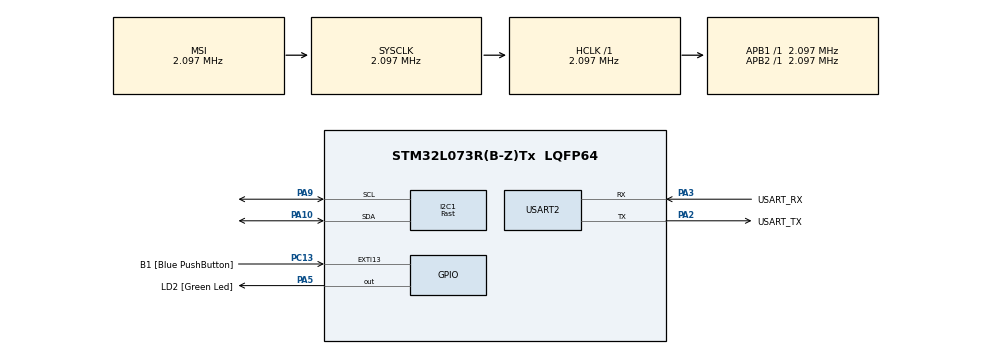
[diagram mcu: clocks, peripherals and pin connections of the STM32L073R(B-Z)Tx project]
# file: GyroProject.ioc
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I2C1.I2C_Speed_Mode=I2C_Fast
I2C1.Timing=0x00000000
Mcu.Family=STM32L0
Mcu.Name=STM32L073R(B-Z)Tx
Mcu.Package=LQFP64
NVIC.EXTI4_15_IRQn=true\:0\:0\:false\:false\:true\:true\:true\:true
NVIC.TIM7_IRQn=true\:0\:0\:false\:false\:true\:true\:true\:true
PA10.Mode=I2C
PA10.Signal=I2C1_SDA
PA13.GPIO_Label=TMS
PA13.Mode=Serial_Wire
PA13.Signal=SYS_SWDIO
PA14.GPIO_Label=TCK
PA14.Mode=Serial_Wire
PA14.Signal=SYS_SWCLK
PA2.GPIO_Label=USART_TX
PA2.Mode=Asynchronous
PA2.Signal=USART2_TX
PA3.GPIO_Label=USART_RX
PA3.Mode=Asynchronous
PA3.Signal=USART2_RX
PA5.GPIO_Label=LD2 [Green Led]
PA5.Signal=GPIO_Output
PA9.Mode=I2C
PA9.Signal=I2C1_SCL
PC13.GPIO_Label=B1 [Blue PushButton]
PC13.GPIO_ModeDefaultEXTI=GPIO_MODE_IT_RISING
PC13.GPIO_PuPd=GPIO_PULLUP
PC13.Signal=GPXTI13
PC14-OSC32_IN.Mode=LSE-External-Oscillator
PC14-OSC32_IN.Signal=RCC_OSC32_IN
PC15-OSC32_OUT.Mode=LSE-External-Oscillator
PC15-OSC32_OUT.Signal=RCC_OSC32_OUT
PH0-OSC_IN.GPIO_Label=MCO
PH0-OSC_IN.Mode=HSE-External-Clock-Source
PH0-OSC_IN.Signal=RCC_OSC_IN
ProjectManager.HeapSize=0x200
ProjectManager.StackSize=0x400
ProjectManager.TargetToolchain=STM32CubeIDE
RCC.AHBFreq_Value=2097000
RCC.APB1Freq_Value=2097000
RCC.APB1TimFreq_Value=2097000
RCC.APB2Freq_Value=2097000
RCC.APB2TimFreq_Value=2097000
RCC.HSE_VALUE=8000000
RCC.HSI16_VALUE=16000000
RCC.HSI48_VALUE=48000000
RCC.HSI_VALUE=16000000
RCC.MSI_VALUE=2097000
RCC.SYSCLKFreq_VALUE=2097000
RCC.VCOOutputFreq_Value=48000000
TIM7.Period=200-1
TIM7.Prescaler=2097-1
USART2.VirtualMode-Asynchronous=VM_ASYNC
VP_TIM7_VS_ClockSourceINT.Mode=Enable_Timer
board=NUCLEO-L073RZ

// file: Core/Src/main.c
/* USER CODE BEGIN Header */
/**
  ******************************************************************************
  * @file           : main.c
  * @brief          : Main program body
  ******************************************************************************
  * @attention
  *
  * Copyright (c) 2024 STMicroelectronics.
  * All rights reserved.
  *
  * This software is licensed under terms that can be found in the LICENSE file
  * in the root directory of this software component.
  * If no LICENSE file comes with this software, it is provided AS-IS.
  *
  ******************************************************************************
  */
/* USER CODE END Header */
#include "main.h"

/* USER CODE BEGIN Includes */
#include "sc_types.h"
#include "Statechart.h"
#include "Statechart_required.h"

#include "mpu6050.h"

#include "ssd1306_conf.h"
#include "ssd1306_fonts.h"
#include "ssd1306.h"
#include "stdio.h"
/* USER CODE END Includes */

/* USER CODE BEGIN PTD */

#define PI 3.141592

/* USER CODE END PTD */

I2C_HandleTypeDef hi2c1;

TIM_HandleTypeDef htim7;

UART_HandleTypeDef huart2;

/* USER CODE BEGIN PV */

Statechart myStateChart;
MPU6050_t MPU6050;

double Initial_Acc_X = 0, Initial_Acc_Y = 0, Initial_Acc_Z = 0;
double Acc_X[5], Acc_Y[5],Acc_Z[5];
double Average_Acc_X = 0, Average_Acc_Y = 0, Average_Acc_Z = 0;
int iteration = 0;

int ButtonPressed = 0;

double Last_Data[3];

/* USER CODE END PV */

void SystemClock_Config(void);
static void MX_GPIO_Init(void);
static void MX_USART2_UART_Init(void);
void MX_I2C1_Init(void);
static void MX_TIM7_Init(void);

int main(void)
{

  /* MCU Configuration--------------------------------------------------------*/

  /* Reset of all peripherals, Initializes the Flash interface and the Systick. */
  HAL_Init();

  /* Configure the system clock */
  SystemClock_Config();

  /* Initialize all configured peripherals */
  MX_GPIO_Init();
  MX_USART2_UART_Init();
  MX_I2C1_Init();
  MX_TIM7_Init();
  /* USER CODE BEGIN 2 */

  statechart_init(&myStateChart);
  statechart_enter(&myStateChart);

  /* USER CODE END 2 */

  /* Infinite loop */
  while (1)
  {

  }
}

void SystemClock_Config(void)
{
  RCC_OscInitTypeDef RCC_OscInitStruct = {0};
  RCC_ClkInitTypeDef RCC_ClkInitStruct = {0};
  RCC_PeriphCLKInitTypeDef PeriphClkInit = {0};

  /** Configure the main internal regulator output voltage
  */
  __HAL_PWR_VOLTAGESCALING_CONFIG(PWR_REGULATOR_VOLTAGE_SCALE1);

  /** Initializes the RCC Oscillators according to the specified parameters
  * in the RCC_OscInitTypeDef structure.
  */
  RCC_OscInitStruct.OscillatorType = RCC_OSCILLATORTYPE_MSI;
  RCC_OscInitStruct.MSIState = RCC_MSI_ON;
  RCC_OscInitStruct.MSICalibrationValue = 0;
  RCC_OscInitStruct.MSIClockRange = RCC_MSIRANGE_5;
  RCC_OscInitStruct.PLL.PLLState = RCC_PLL_NONE;
  if (HAL_RCC_OscConfig(&RCC_OscInitStruct) != HAL_OK)
  {
    Error_Handler();
  }

  /** Initializes the CPU, AHB and APB buses clocks
  */
  RCC_ClkInitStruct.ClockType = RCC_CLOCKTYPE_HCLK|RCC_CLOCKTYPE_SYSCLK
                              |RCC_CLOCKTYPE_PCLK1|RCC_CLOCKTYPE_PCLK2;
  RCC_ClkInitStruct.SYSCLKSource = RCC_SYSCLKSOURCE_MSI;
  RCC_ClkInitStruct.AHBCLKDivider = RCC_SYSCLK_DIV1;
  RCC_ClkInitStruct.APB1CLKDivider = RCC_HCLK_DIV1;
  RCC_ClkInitStruct.APB2CLKDivider = RCC_HCLK_DIV1;

  if (HAL_RCC_ClockConfig(&RCC_ClkInitStruct, FLASH_LATENCY_0) != HAL_OK)
  {
    Error_Handler();
  }
  PeriphClkInit.PeriphClockSelection = RCC_PERIPHCLK_USART2|RCC_PERIPHCLK_I2C1;
  PeriphClkInit.Usart2ClockSelection = RCC_USART2CLKSOURCE_PCLK1;
  PeriphClkInit.I2c1ClockSelection = RCC_I2C1CLKSOURCE_PCLK1;
  if (HAL_RCCEx_PeriphCLKConfig(&PeriphClkInit) != HAL_OK)
  {
    Error_Handler();
  }
}

void MX_I2C1_Init(void)
{

  hi2c1.Instance = I2C1;
  hi2c1.Init.Timing = 0x00000000;
  hi2c1.Init.OwnAddress1 = 0;
  hi2c1.Init.AddressingMode = I2C_ADDRESSINGMODE_7BIT;
  hi2c1.Init.DualAddressMode = I2C_DUALADDRESS_DISABLE;
  hi2c1.Init.OwnAddress2 = 0;
  hi2c1.Init.OwnAddress2Masks = I2C_OA2_NOMASK;
  hi2c1.Init.GeneralCallMode = I2C_GENERALCALL_DISABLE;
  hi2c1.Init.NoStretchMode = I2C_NOSTRETCH_DISABLE;
  if (HAL_I2C_Init(&hi2c1) != HAL_OK)
  {
    Error_Handler();
  }

  /** Configure Analogue filter
  */
  if (HAL_I2CEx_ConfigAnalogFilter(&hi2c1, I2C_ANALOGFILTER_ENABLE) != HAL_OK)
  {
    Error_Handler();
  }

  /** Configure Digital filter
  */
  if (HAL_I2CEx_ConfigDigitalFilter(&hi2c1, 0) != HAL_OK)
  {
    Error_Handler();
  }

}

static void MX_TIM7_Init(void)
{

  TIM_MasterConfigTypeDef sMasterConfig = {0};

  htim7.Instance = TIM7;
  htim7.Init.Prescaler = 2097-1;
  htim7.Init.CounterMode = TIM_COUNTERMODE_UP;
  htim7.Init.Period = 200-1;
  htim7.Init.AutoReloadPreload = TIM_AUTORELOAD_PRELOAD_DISABLE;
  if (HAL_TIM_Base_Init(&htim7) != HAL_OK)
  {
    Error_Handler();
  }
  sMasterConfig.MasterOutputTrigger = TIM_TRGO_RESET;
  sMasterConfig.MasterSlaveMode = TIM_MASTERSLAVEMODE_DISABLE;
  if (HAL_TIMEx_MasterConfigSynchronization(&htim7, &sMasterConfig) != HAL_OK)
  {
    Error_Handler();
  }

}

static void MX_USART2_UART_Init(void)
{

  huart2.Instance = USART2;
  huart2.Init.BaudRate = 115200;
  huart2.Init.WordLength = UART_WORDLENGTH_8B;
  huart2.Init.StopBits = UART_STOPBITS_1;
  huart2.Init.Parity = UART_PARITY_NONE;
  huart2.Init.Mode = UART_MODE_TX_RX;
  huart2.Init.HwFlowCtl = UART_HWCONTROL_NONE;
  huart2.Init.OverSampling = UART_OVERSAMPLING_16;
  huart2.Init.OneBitSampling = UART_ONE_BIT_SAMPLE_DISABLE;
  huart2.AdvancedInit.AdvFeatureInit = UART_ADVFEATURE_NO_INIT;
  if (HAL_UART_Init(&huart2) != HAL_OK)
  {
    Error_Handler();
  }

}

static void MX_GPIO_Init(void)
{
  GPIO_InitTypeDef GPIO_InitStruct = {0};

  /* GPIO Ports Clock Enable */
  __HAL_RCC_GPIOC_CLK_ENABLE();
  __HAL_RCC_GPIOH_CLK_ENABLE();
  __HAL_RCC_GPIOA_CLK_ENABLE();

  /*Configure GPIO pin Output Level */
  HAL_GPIO_WritePin(LD2_GPIO_Port, LD2_Pin, GPIO_PIN_RESET);

  /*Configure GPIO pin : B1_Pin */
  GPIO_InitStruct.Pin = B1_Pin;
  GPIO_InitStruct.Mode = GPIO_MODE_IT_RISING;
  GPIO_InitStruct.Pull = GPIO_PULLUP;
  HAL_GPIO_Init(B1_GPIO_Port, &GPIO_InitStruct);

  /*Configure GPIO pin : LD2_Pin */
  GPIO_InitStruct.Pin = LD2_Pin;
  GPIO_InitStruct.Mode = GPIO_MODE_OUTPUT_PP;
  GPIO_InitStruct.Pull = GPIO_NOPULL;
  GPIO_InitStruct.Speed = GPIO_SPEED_FREQ_LOW;
  HAL_GPIO_Init(LD2_GPIO_Port, &GPIO_InitStruct);

  /* EXTI interrupt init*/
  HAL_NVIC_SetPriority(EXTI4_15_IRQn, 0, 0);
  HAL_NVIC_EnableIRQ(EXTI4_15_IRQn);

}

/* USER CODE BEGIN 4 */
void HAL_TIM_PeriodElapsedCallback(TIM_HandleTypeDef *htim){
	if(htim == &htim7){
		statechart_raise_timerInterrupt(&myStateChart);
	}
}

void HAL_GPIO_EXTI_Callback(uint16_t GPIO_Pin) {
	if (GPIO_Pin == 8192) { // PC13
		if(ButtonPressed == 0){
			ButtonPressed = 1;
		}
		else{
			char number[5] = {'\0','\0','\0','\0','\0'};

			HAL_UART_Transmit(&huart2, (uint8_t *)"X: ", sizeof("X: "), 10);
			snprintf(number, 5, "%d. ", (int)Last_Data[0]);
			HAL_UART_Transmit(&huart2, (uint8_t *)number, sizeof(number), 10);
			for(int i = 0; i < 5;i++){
				number[i] = '\0';
			}
			HAL_UART_Transmit(&huart2, (uint8_t *)"\r\n", sizeof("\r\n"), 10);

			HAL_UART_Transmit(&huart2, (uint8_t *)"Y: ", sizeof("Y: "), 10);
			snprintf(number, 5, "%d. ", (int)Last_Data[1]);
			HAL_UART_Transmit(&huart2, (uint8_t *)number, sizeof(number), 10);
			for(int i = 0; i < 5;i++){
				number[i] = '\0';
			}
			HAL_UART_Transmit(&huart2, (uint8_t *)"\r\n", sizeof("\r\n"), 10);

			HAL_UART_Transmit(&huart2, (uint8_t *)"Z: ", sizeof("Z: "), 10);
			snprintf(number, 5, "%d. ", (int)Last_Data[2]);
			HAL_UART_Transmit(&huart2, (uint8_t *)number, sizeof(number), 10);
			for(int i = 0; i < 5;i++){
				number[i] = '\0';
			}
			HAL_UART_Transmit(&huart2, (uint8_t *)"\r\n\r\n", sizeof("\r\n\r\n"), 10);

		}
	}
}

void statechart_initialize( Statechart* handle){
	ssd1306_Init();
	while (MPU6050_Init(&hi2c1) == 1);
	while(ButtonPressed == 0); //Laukiame mygtuko paspaudimo
	// Nusistatome pradines vertes
	MPU6050_Read_All(&hi2c1, &MPU6050);
	Initial_Acc_X = MPU6050.Ax *180 / PI;
	Initial_Acc_Y = MPU6050.Ay *180 / PI;
	Initial_Acc_Z = MPU6050.Az *180 / PI;

	HAL_TIM_Base_Start_IT(&htim7);
	HAL_Delay(200);
	statechart_raise_buttonPressed(&myStateChart);
}
void statechart_readSensor( Statechart* handle){
	MPU6050_Read_All(&hi2c1, &MPU6050);
	Acc_X[iteration] = MPU6050.Ax *180 / PI;
	Acc_Y[iteration] = MPU6050.Ay *180 / PI;
	Acc_Z[iteration] = MPU6050.Az *180 / PI;
	iteration++;
	if(iteration == 5){
		iteration = 0;
	}

}
void statechart_calculateAverage( Statechart* handle){
	for(int i=0;i<5;i++){
		Average_Acc_X += Acc_X[i];
		Average_Acc_Y += Acc_Y[i];
		Average_Acc_Z += Acc_Z[i];
	}
	Average_Acc_X = (Average_Acc_X/5) - Initial_Acc_X;
	Average_Acc_Y = (Average_Acc_Y/5) - Initial_Acc_Y;
	Average_Acc_Z = (Average_Acc_Z/5) - Initial_Acc_Z;
}
void statechart_display( Statechart* handle){

	char number[5];
	int X_Coord1 = 40;
	int X_Coord2 = 60;
	int Y_Coord = 10;

	ssd1306_Fill(Black);

	ssd1306_SetCursor(X_Coord1,Y_Coord);
	ssd1306_WriteString("X: ", Font_7x10, White);
	snprintf(number,5, "%d", (int)Average_Acc_X);
	ssd1306_SetCursor(X_Coord2,Y_Coord);
	ssd1306_WriteString(number, Font_7x10, White);
	for(int i = 0; i < 5;i++){
		number[i] = '\0';
	}

	ssd1306_SetCursor(X_Coord1,Y_Coord + 15);
	ssd1306_WriteString("Y: ", Font_7x10, White);
	snprintf(number,5, "%d", (int)Average_Acc_Y);
	ssd1306_SetCursor(X_Coord2,Y_Coord + 15);
	ssd1306_WriteString(number, Font_7x10, White);
	for(int i = 0; i < 5;i++){
		number[i] = '\0';
	}

	ssd1306_SetCursor(X_Coord1,Y_Coord + 30);
	ssd1306_WriteString("Y: ", Font_7x10, White);
	snprintf(number,5, "%d", (int)Average_Acc_Z);
	ssd1306_SetCursor(X_Coord2,Y_Coord + 30);
	ssd1306_WriteString(number, Font_7x10, White);
	for(int i = 0; i < 5;i++){
		number[i] = '\0';
	}

	ssd1306_UpdateScreen();

	Last_Data[0] = Average_Acc_X;
	Last_Data[1] = Average_Acc_Y;
	Last_Data[2] = Average_Acc_Z;

	Average_Acc_X = 0;
	Average_Acc_Y = 0;
	Average_Acc_Z = 0;

}
/* USER CODE END 4 */

void Error_Handler(void)
{
  __disable_irq();
  while (1)
  {
  }
}
